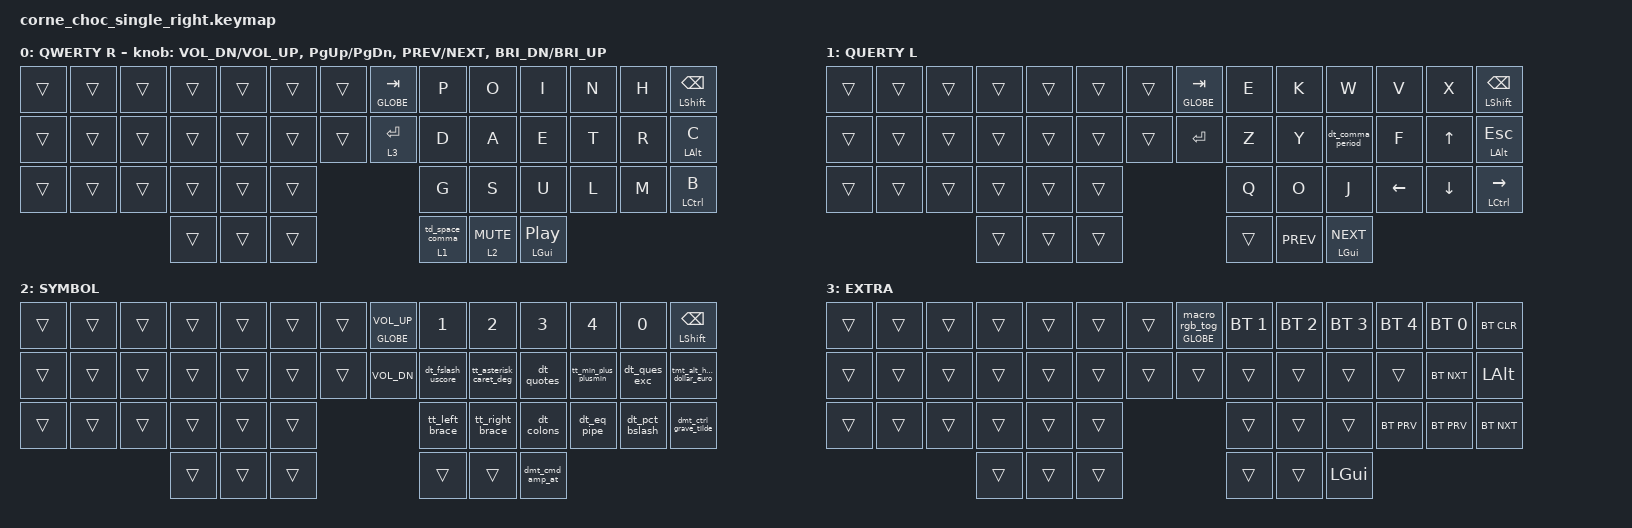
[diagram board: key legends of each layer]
/*
 * Copyright (c) 2020 The ZMK Contributors
 *
 * SPDX-License-Identifier: MIT
 */

#include <behaviors.dtsi>
#include <dt-bindings/zmk/bt.h>
#include <dt-bindings/zmk/keys.h>
#include <dt-bindings/zmk/rgb.h>

&mt { tapping-term-ms = <150>; };

&lt { tapping-term-ms = <150>; };

/ {
    chosen { zmk,physical-layout = &default_layout; };
};

/ {
    behaviors {
        dt_comma_period: dt_comma_period {
            compatible = "zmk,behavior-tap-dance";
            label = "DT_COMMA_PERIOD";
            #binding-cells = <0>;
            bindings = <&kp COMMA>, <&kp PERIOD>;
        };

        dmt_alt_excl_quest: dmt_alt_excl_quest {
            compatible = "zmk,behavior-tap-dance";
            label = "DMT_ALT_EXCL_QUEST";
            #binding-cells = <0>;
            bindings = <&mt LEFT_ALT EXCLAMATION>, <&kp QUESTION>;
        };

        dmt_alt_grave_tilde: dmt_alt_grave_tilde {
            compatible = "zmk,behavior-tap-dance";
            label = "DMT_ALT_GRAVE_TILDE";
            #binding-cells = <0>;
            bindings = <&mt LEFT_ALT GRAVE>, <&kp TILDE>;
        };

        dt_quotes: dt_quotes {
            compatible = "zmk,behavior-tap-dance";
            label = "DT_QUOTES";
            #binding-cells = <0>;
            bindings = <&kp SINGLE_QUOTE>, <&kp DOUBLE_QUOTES>;
        };

        dt_asterisk_caret: dt_asterisk_caret {
            compatible = "zmk,behavior-tap-dance";
            label = "DT_ASTERISK_CARET";
            #binding-cells = <0>;
            bindings = <&kp ASTERISK>, <&kp CARET>;
        };

        dt_lt_gt: dt_lt_gt {
            compatible = "zmk,behavior-tap-dance";
            label = "DT_LT_GT";
            #binding-cells = <0>;
            bindings = <&kp LT>, <&kp GREATER_THAN>;
        };

        dt_pipe_bslash: dt_pipe_bslash {
            compatible = "zmk,behavior-tap-dance";
            label = "DT_PIPE_BSLASH";
            #binding-cells = <0>;
            bindings = <&kp PIPE>, <&kp BACKSLASH>;
        };

        dt_fslash_uscore: dt_fslash_uscore {
            compatible = "zmk,behavior-tap-dance";
            label = "DT_FSLASH_USCORE";
            #binding-cells = <0>;
            bindings = <&kp SLASH>, <&kp UNDERSCORE>;
        };

        dt_min_plus: dt_min_plus {
            compatible = "zmk,behavior-tap-dance";
            label = "DT_MIN_PLUS";
            #binding-cells = <0>;
            bindings = <&kp KP_MINUS>, <&kp KP_PLUS>;
        };

        dt_curly_bracket: dt_curly_bracket {
            compatible = "zmk,behavior-tap-dance";
            label = "DT_CURLY_BRACKET";
            #binding-cells = <0>;
            bindings = <&kp LEFT_BRACE>, <&kp RIGHT_BRACE>;
        };

        dt_square_bracket: dt_square_bracket {
            compatible = "zmk,behavior-tap-dance";
            label = "DT_SQUARE_BRACKET";
            #binding-cells = <0>;
            bindings = <&kp LBKT>, <&kp RIGHT_BRACKET>;
        };

        dt_colons: dt_colons {
            compatible = "zmk,behavior-tap-dance";
            label = "DT_COLONS";
            #binding-cells = <0>;
            bindings = <&kp COLON>, <&kp SEMICOLON>;
        };

        dt_eq_at: dt_eq_at {
            compatible = "zmk,behavior-tap-dance";
            label = "DT_EQ_AT";
            #binding-cells = <0>;
            bindings = <&kp EQUAL>, <&kp AT_SIGN>;
        };

        ht_mt_bt0: ht_mt_bt0 {
            compatible = "zmk,behavior-hold-tap";
            label = "HT_MT_BT0";
            bindings = <&kp>, <&bt_sel_0>;

            #binding-cells = <2>;
            tapping-term-ms = <120>;
        };

        ht_mt_bt1: ht_mt_bt1 {
            compatible = "zmk,behavior-hold-tap";
            label = "HT_MT_BT1";
            bindings = <&kp>, <&bt_sel_1>;

            #binding-cells = <2>;
            tapping-term-ms = <120>;
        };

        dmt_shift_hash_amp: dmt_shift_hash_amp {
            compatible = "zmk,behavior-tap-dance";
            label = "DMT_SHIFT_HASH_AMP";
            #binding-cells = <0>;
            bindings = <&mt LEFT_SHIFT HASH>, <&kp AMPS>;

            tapping-term-ms = <120>;
        };

        dmt_shift_dollar_pct: dmt_shift_dollar_pct {
            compatible = "zmk,behavior-tap-dance";
            label = "DMT_SHIFT_DOLLAR_PCT";
            #binding-cells = <0>;
            bindings = <&mt LEFT_SHIFT DOLLAR>, <&kp PERCENT>;
        };

        dmt_cmd_parentheses: dmt_cmd_parentheses {
            compatible = "zmk,behavior-tap-dance";
            label = "DMT_CMD_PARENTHESES";
            #binding-cells = <0>;
            bindings = <&mt LEFT_GUI LEFT_PARENTHESIS>, <&kp RIGHT_PARENTHESIS>;
        };

        tt_left_brace: tt_left_brace {
            compatible = "zmk,behavior-tap-dance";
            label = "TT_LEFT_BRACE";
            #binding-cells = <0>;
            bindings =
                <&kp LEFT_PARENTHESIS>,
                <&kp LEFT_BRACKET>,
                <&kp LESS_THAN>,
                <&kp LEFT_BRACE>;
        };

        tt_right_brace: tt_right_brace {
            compatible = "zmk,behavior-tap-dance";
            label = "TT_RIGHT_BRACE";
            #binding-cells = <0>;
            bindings =
                <&kp RIGHT_PARENTHESIS>,
                <&kp RIGHT_BRACKET>,
                <&kp GREATER_THAN>,
                <&kp RIGHT_BRACE>;
        };

        new_behavior: new_behavior {
            compatible = "zmk,behavior-tap-dance";
            label = "NEW_BEHAVIOR";
            #binding-cells = <0>;
            bindings =
                <&kp LEFT_PARENTHESIS>,
                <&kp LEFT_BRACKET>,
                <&kp LESS_THAN>,
                <&kp LEFT_BRACE>;
        };

        dt_hash_amp: dt_hash_amp {
            compatible = "zmk,behavior-tap-dance";
            label = "DT_HASH_AMP";
            #binding-cells = <0>;
            bindings = <&kp HASH>, <&kp AMPS>;
        };

        dt_dollar_pct: dt_dollar_pct {
            compatible = "zmk,behavior-tap-dance";
            label = "DT_DOLLAR_PCT";
            #binding-cells = <0>;
            bindings = <&kp DOLLAR>, <&kp PRCNT>;
        };

        dmt_cmd_exc_quest: dmt_cmd_exc_quest {
            compatible = "zmk,behavior-tap-dance";
            label = "DMT_CMD_EXC_QUEST";
            #binding-cells = <0>;
            bindings = <&mt LEFT_GUI EXCL>, <&kp QUESTION>;
        };

        dmt_cmd_grave_tilde: dmt_cmd_grave_tilde {
            compatible = "zmk,behavior-tap-dance";
            label = "DMT_CMD_GRAVE_TILDE";
            #binding-cells = <0>;
            bindings = <&mt LEFT_COMMAND GRAVE>, <&kp TILDE>;
        };

        dmt_alt_hash_dollar: dmt_alt_hash_dollar {
            compatible = "zmk,behavior-tap-dance";
            label = "DMT_ALT_HASH_DOLLAR";
            #binding-cells = <0>;
            bindings = <&mt LEFT_ALT HASH>, <&kp DOLLAR>;
        };

        dt_amp_at: dt_amp_at {
            compatible = "zmk,behavior-tap-dance";
            label = "DT_AMP_AT";
            #binding-cells = <0>;
            bindings = <&kp AMPS>, <&kp AT>;
        };

        dt_ques_exc: dt_ques_exc {
            compatible = "zmk,behavior-tap-dance";
            label = "DT_QUES_EXC";
            #binding-cells = <0>;
            bindings = <&kp QUESTION>, <&kp EXCL>;
        };

        dt_eq_pipe: dt_eq_pipe {
            compatible = "zmk,behavior-tap-dance";
            label = "DT_EQ_PIPE";
            #binding-cells = <0>;
            bindings = <&kp EQUAL>, <&kp PIPE>;
        };

        dt_pct_bslash: dt_pct_bslash {
            compatible = "zmk,behavior-tap-dance";
            label = "DT_PCT_BSLASH";
            #binding-cells = <0>;
            bindings = <&kp PRCNT>, <&kp BACKSLASH>;
        };

        tmt_alt_hash_dollar_euro: tmt_alt_hash_dollar_euro {
            compatible = "zmk,behavior-tap-dance";
            label = "TMT_ALT_HASH_DOLLAR_EURO";
            #binding-cells = <0>;
            bindings = <&mt LEFT_ALT HASH>, <&kp DOLLAR>, <&comb_euro>;
        };

        tt_min_plus_plusmin: tt_min_plus_plusmin {
            compatible = "zmk,behavior-tap-dance";
            label = "TT_MIN_PLUS_PLUSMIN";
            #binding-cells = <0>;
            bindings = <&kp KP_MINUS>, <&kp KP_PLUS>, <&comb_plusmin>;
        };

        tt_asterisk_caret_deg: tt_asterisk_caret_deg {
            compatible = "zmk,behavior-tap-dance";
            label = "TT_ASTERISK_CARET_DEG";
            #binding-cells = <0>;
            bindings = <&kp ASTERISK>, <&kp CARET>, <&comb_degree>;
        };

        ht_fn_rgb: ht_fn_rgb {
            compatible = "zmk,behavior-hold-tap";
            label = "HT_FN_RGB";
            bindings = <&kp>, <&macro_rgb_tog>;

            #binding-cells = <2>;
            tapping-term-ms = <120>;
        };

        ldt_space_comma: ldt_space_comma {
            compatible = "zmk,behavior-tap-dance";
            label = "LDT_SPACE_COMMA";
            #binding-cells = <0>;
            bindings = <&lt 1 SPACE>, <&macro_comma_space>;

            tapping-term-ms = <100>;
        };

        td_space_comma: td_space_comma {
            compatible = "zmk,behavior-tap-dance";
            label = "TD_SPACE_COMMA";
            #binding-cells = <0>;
            tapping-term-ms = <120>;
            bindings = <&kp SPACE>, <&macro_comma_space>;
        };

        ldt_space_comma2: ldt_space_comma2 {
            compatible = "zmk,behavior-hold-tap";
            label = "LDT_SPACE_COMMA2";
            #binding-cells = <2>;
            flavor = "hold-preferred";
            tapping-term-ms = <150>;
            quick-tap-ms = <120>;
            bindings = <&mo>, <&td_space_comma>;
        };

        ht_shift_backspace: ht_shift_backspace {
            compatible = "zmk,behavior-hold-tap";
            label = "HT_SHIFT_BACKSPACE";
            #binding-cells = <2>;
            flavor = "tap-preferred";
            tapping-term-ms = <150>;
            quick-tap-ms = <120>;
            bindings = <&kp>, <&kp>;
        };

        dmt_ctrl_grave_tilde: dmt_ctrl_grave_tilde {
            compatible = "zmk,behavior-tap-dance";
            label = "DMT_CTRL_GRAVE_TILDE";
            #binding-cells = <0>;
            bindings = <&mt LCTRL GRAVE>, <&kp TILDE>;
        };

        dmt_cmd_amp_at: dmt_cmd_amp_at {
            compatible = "zmk,behavior-tap-dance";
            label = "DMT_CMD_AMP_AT";
            #binding-cells = <0>;
            bindings = <&mt LEFT_COMMAND AMPS>, <&kp AT>;
        };
    };

    combos {
        compatible = "zmk,combos";

        sum_12 {
            bindings = <&kp NUMBER_3>;
            key-positions = <8 9>;
            layers = <2>;
        };

        sum_13 {
            bindings = <&kp N4>;
            key-positions = <10 8>;
            layers = <2>;
        };

        sum_14 {
            bindings = <&kp N5>;
            key-positions = <11 8>;
            layers = <2>;
        };

        sum_23 {
            bindings = <&kp KP_N5>;
            key-positions = <9 10>;
            layers = <2>;
        };

        sum_24 {
            bindings = <&kp N6>;
            key-positions = <9 11>;
            layers = <2>;
        };

        sum_34 {
            bindings = <&kp N7>;
            key-positions = <11 10>;
            layers = <2>;
        };

        sum_123 {
            bindings = <&kp N6>;
            key-positions = <8 9 10>;
            layers = <2>;
        };

        sum_124 {
            bindings = <&kp N7>;
            key-positions = <10 8 11>;
            layers = <2>;
        };

        sum_234 {
            bindings = <&kp N9>;
            key-positions = <10 11 9>;
            layers = <2>;
        };

        sum_1234 {
            bindings = <&kp N0>;
            key-positions = <10 11 9 8>;
            layers = <2>;
        };

        pgup {
            bindings = <&kp PG_UP>;
            key-positions = <7 26>;
        };

        pgdn {
            bindings = <&kp PAGE_DOWN>;
            key-positions = <7 38>;
        };

        home {
            bindings = <&kp HOME>;
            key-positions = <7 37>;
        };

        end {
            bindings = <&kp END>;
            key-positions = <7 39>;
        };
    };

    macros {
        bt_sel_0: bt_sel_0 {
            compatible = "zmk,behavior-macro";
            #binding-cells = <0>;
            bindings = <&bt BT_SEL 0>;
            label = "BT_SEL_0";
        };

        bt_sel_1: bt_sel_1 {
            compatible = "zmk,behavior-macro";
            #binding-cells = <0>;
            bindings = <&bt BT_SEL 1>;
            label = "BT_SEL_1";
        };

        copy: copy {
            compatible = "zmk,behavior-macro";
            #binding-cells = <0>;
            bindings = <&kp LEFT_CONTROL &kp C>;
            label = "COPY";
        };

        paste: paste {
            compatible = "zmk,behavior-macro";
            #binding-cells = <0>;
            bindings = <&kp LEFT_CONTROL &kp V>;
            label = "PASTE";
        };

        cut: cut {
            compatible = "zmk,behavior-macro";
            #binding-cells = <0>;
            bindings = <&kp LEFT_CONTROL &kp X>;
            label = "CUT";
        };

        comb_degree: degree {
            compatible = "zmk,behavior-macro";
            #binding-cells = <0>;
            bindings = <&kp LA(LS(N8))>;
            label = "DEGREE";
        };

        comb_euro: comb_euro {
            compatible = "zmk,behavior-macro";
            #binding-cells = <0>;
            bindings = <&kp LA(LS(NUMBER_2))>;
            label = "COMB_EURO";
        };

        comb_plusmin: comb_plusmin {
            compatible = "zmk,behavior-macro";
            #binding-cells = <0>;
            bindings = <&kp LA(LS(EQUAL))>;
            label = "COMB_PLUSMIN";
        };

        macro_rgb_tog: macro_rgb_tog {
            compatible = "zmk,behavior-macro";
            #binding-cells = <0>;
            bindings = <&rgb_ug RGB_TOG>;
            label = "MACRO_RGB_TOG";
        };

        macro_comma_space: macro_comma_space {
            compatible = "zmk,behavior-macro";
            #binding-cells = <0>;
            bindings = <&kp COMMA &kp SPACE>;
            label = "MACRO_COMMA_SPACE";
        };
    };

    keymap {
        compatible = "zmk,keymap";

        default_layer {
            display-name = "QWERTY R";
            bindings = <
&trans  &trans  &trans  &trans  &trans  &trans  &trans  &mt GLOBE TAB  &kp P                  &kp O         &kp I          &kp N  &kp H  &ht_shift_backspace LEFT_SHIFT BACKSPACE
&trans  &trans  &trans  &trans  &trans  &trans  &trans  &lt 3 ENTER    &kp D                  &kp A         &kp E          &kp T  &kp R  &mt LEFT_ALT C
&trans  &trans  &trans  &trans  &trans  &trans                         &kp G                  &kp S         &kp U          &kp L  &kp M  &mt LEFT_CONTROL B
                        &trans  &trans  &trans                         &ldt_space_comma2 1 0  &lt 2 C_MUTE  &mt LGUI C_PP
            >;

            sensor-bindings = <&inc_dec_kp C_VOL_DN C_VOL_UP &inc_dec_kp PG_UP PG_DN &inc_dec_kp C_PREV C_NEXT &inc_dec_kp C_BRI_DN C_BRI_UP>;
        };

        lower_layer {
            display-name = "QUERTY L";
            bindings = <
&trans  &trans  &trans  &trans  &trans  &trans  &trans  &mt GLOBE TAB  &kp E   &kp K       &kp W             &kp V     &kp X         &mt LEFT_SHIFT BACKSPACE
&trans  &trans  &trans  &trans  &trans  &trans  &trans  &kp ENTER      &kp Z   &kp Y       &dt_comma_period  &kp F     &kp UP_ARROW  &mt LEFT_ALT ESCAPE
&trans  &trans  &trans  &trans  &trans  &trans                         &kp Q   &kp O       &kp J             &kp LEFT  &kp DOWN      &mt LCTRL RIGHT
                        &trans  &trans  &trans                         &trans  &kp C_PREV  &mt LGUI C_NEXT
            >;
        };

        raise_layer {
            display-name = "SYMBOL";
            bindings = <
&trans  &trans  &trans  &trans  &trans  &trans  &trans  &mt GLOBE C_VOL_UP  &kp NUMBER_1       &kp NUMBER_2            &kp NUMBER_3     &kp NUMBER_4          &kp NUMBER_0    &mt LEFT_SHIFT BACKSPACE
&trans  &trans  &trans  &trans  &trans  &trans  &trans  &kp C_VOL_DN        &dt_fslash_uscore  &tt_asterisk_caret_deg  &dt_quotes       &tt_min_plus_plusmin  &dt_ques_exc    &tmt_alt_hash_dollar_euro
&trans  &trans  &trans  &trans  &trans  &trans                              &tt_left_brace     &tt_right_brace         &dt_colons       &dt_eq_pipe           &dt_pct_bslash  &dmt_ctrl_grave_tilde
                        &trans  &trans  &trans                              &trans             &trans                  &dmt_cmd_amp_at
            >;
        };

        extra_layer_1 {
            display-name = "EXTRA";
            bindings = <
&trans  &trans  &trans  &trans  &trans  &trans  &trans  &ht_fn_rgb GLOBE 0  &bt BT_SEL 1  &bt BT_SEL 2  &bt BT_SEL 3  &bt BT_SEL 4  &bt BT_SEL 0  &bt BT_CLR
&trans  &trans  &trans  &trans  &trans  &trans  &trans  &trans              &trans        &trans        &trans        &trans        &bt BT_NXT    &kp LEFT_ALT
&trans  &trans  &trans  &trans  &trans  &trans                              &trans        &trans        &trans        &bt BT_PRV    &bt BT_PRV    &bt BT_NXT
                        &trans  &trans  &trans                              &trans        &trans        &kp LGUI
            >;
        };
    };
};
